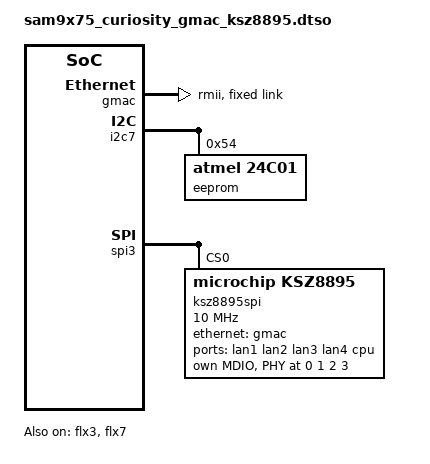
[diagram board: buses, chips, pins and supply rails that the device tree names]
// SPDX-License-Identifier: (GPL-2.0+ OR MIT)
/*
 * Device Tree file for SAM9X75 CURIOSITY board overlay blob supporting the
 * KSZ8895 5-port 10/100 switch Daughter Card using SPI and RMII.
 *
 * Copyright (C) 2025 Microchip Technology Inc. and its subsidiaries
 *
 * Author: Jerry Ray <jerry.ray@microchip.com>
 *
 * Refer to the EV45A66A (KSZ8895-EDS2 daughter card)
 *
 */
/dts-v1/;
/plugin/;

#include <dt-bindings/gpio/gpio.h>
#include <dt-bindings/interrupt-controller/irq.h>
#include <dt-bindings/mfd/atmel-flexcom.h>
#include <dt-bindings/pinctrl/at91.h>

&flx3 {
	atmel,flexcom-mode = <ATMEL_FLEXCOM_MODE_SPI>;
	status = "okay";
};

&flx7 {
	atmel,flexcom-mode = <ATMEL_FLEXCOM_MODE_TWI>;
	status = "okay";
};

&gmac {
	phy-mode = "rmii";
	pinctrl-names = "default";
	pinctrl-0 = <&pinctrl_gmac_rmii_default>;
	dmas = <0>, <0>;
	status = "okay";

	fixed-link {
		speed = <100>;
		full-duplex;
		pause;
	};
};

&i2c7 {
	#address-cells = <1>;
	#size-cells = <0>;
	pinctrl-names = "default";
	pinctrl-0 = <&pinctrl_flx7_twi_default>;
	i2c-analog-filter;
	i2c-digital-filter;
	i2c-digital-filter-width-ns = <35>;
	dmas = <0>, <0>;
	status = "okay";

	eeprom@54 {
		compatible = "atmel,24c01";
		reg = <0x54>;
		pagesize = <8>;
		status = "okay";
	};
};

&pinctrl {
	flexcom {
		pinctrl_flx3_default: flx3-spi-default {
			atmel,pins =
				<AT91_PIOC 22 AT91_PERIPH_B AT91_PINCTRL_NONE
				 AT91_PIOC 23 AT91_PERIPH_B AT91_PINCTRL_NONE
				 AT91_PIOC 25 AT91_PERIPH_B AT91_PINCTRL_NONE
				 AT91_PIOC 26 AT91_PERIPH_B AT91_PINCTRL_NONE>;
		};

		pinctrl_flx7_twi_default: flx7-twi-default {
			atmel,pins =
				<AT91_PIOC 0 AT91_PERIPH_C AT91_PINCTRL_NONE
				 AT91_PIOC 1 AT91_PERIPH_C AT91_PINCTRL_NONE>;
		};
	};

	gmac-pins {
		pinctrl_gmac_rmii_default: gmac-rmii-default {
			atmel,pins =
				<AT91_PIOB 13 AT91_PERIPH_A  AT91_PINCTRL_SLEWRATE_DIS				/* ETH_TX0   */
				 AT91_PIOB 14 AT91_PERIPH_A  AT91_PINCTRL_SLEWRATE_DIS				/* ETH_TX1   */
				 AT91_PIOB 7  AT91_PERIPH_A  AT91_PINCTRL_SLEWRATE_DIS				/* ETH_TXEN  */
				 AT91_PIOB 6  AT91_PERIPH_A  (AT91_PINCTRL_SLEWRATE_DIS | AT91_PINCTRL_DIS_SCHMIT)				/* ETH_TXCK (REFCLK) */
				 AT91_PIOB 11 AT91_PERIPH_A  AT91_PINCTRL_SLEWRATE_DIS				/* ETH_RX0   */
				 AT91_PIOB 12 AT91_PERIPH_A  AT91_PINCTRL_SLEWRATE_DIS				/* ETH_RX1   */
				 AT91_PIOB 0  AT91_PERIPH_C  AT91_PINCTRL_PULL_DOWN				/* ETH_RXER in RMII  */
				 AT91_PIOB 3  AT91_PERIPH_A  AT91_PINCTRL_SLEWRATE_DIS				/* ETH_RXDV */
				 AT91_PIOB 10 AT91_PERIPH_A  AT91_PINCTRL_NONE					/* ETH_MDC   */
				 AT91_PIOB 9  AT91_PERIPH_A  AT91_PINCTRL_NONE					/* ETH_MDIO  */
				 AT91_PIOD 5  AT91_PERIPH_GPIO	AT91_PINCTRL_NONE>;				/* ETH_INT   */
		};
	};
};

&spi3 {
	#address-cells = <1>;
	#size-cells = <0>;
	pinctrl-names = "default";
	pinctrl-0 = <&pinctrl_flx3_default>;
	dmas = <0>, <0>;
	status = "okay";

	ksz8895spi: ksz8895-switch@0 {
		compatible = "microchip,ksz8895";
		reg = <0>;
		spi-max-frequency = <10000000>;

		spi-cpha;
		spi-cpol;
		status = "okay";

		ports {
			#address-cells = <1>;
			#size-cells = <0>;
			port@0 {
				reg = <0>;
				label = "lan1";
				phy-handle = <&swphy0>;
			};
			port@1 {
				reg = <1>;
				label = "lan2";
				phy-handle = <&swphy1>;
			};
			port@2 {
				reg = <2>;
				label = "lan3";
				phy-handle = <&swphy2>;
			};
			port@3 {
				reg = <3>;
				label = "lan4";
				phy-handle = <&swphy3>;
			};
			port@4 {
				reg = <4>;
				label = "cpu";
				phy-mode = "rmii";
			//	rx-internal-delay-ps = <2000>;
			//	tx-internal-delay-ps = <2000>;
				ethernet = <&gmac>;
				fixed-link {
					speed = <100>;
					full-duplex;
					pause;
				};
			};
		};
		mdio {
			#address-cells = <1>;
			#size-cells = <0>;
			swphy0: ethernet-phy@0 {
				reg = <0>;
			};
			swphy1: ethernet-phy@1 {
				reg = <1>;
			};
			swphy2: ethernet-phy@2 {
				reg = <2>;
			};
			swphy3: ethernet-phy@3 {
				reg = <3>;
			};
		};
	};
};

&{/} {
	model = "SAM9X75-Curiosity: KSZ8895 RMII PHY Daughter Card";
};
